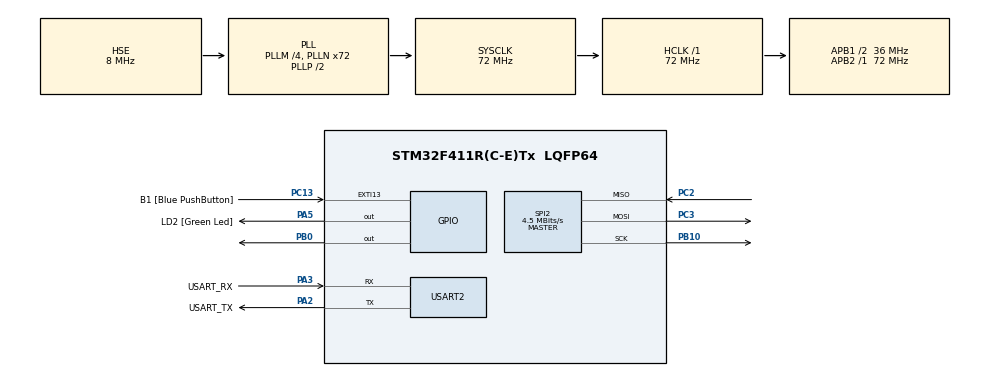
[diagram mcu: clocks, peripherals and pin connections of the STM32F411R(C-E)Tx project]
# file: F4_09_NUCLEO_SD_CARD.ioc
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FATFS._MAX_SS=4096
FATFS._USE_LFN=1
Mcu.Family=STM32F4
Mcu.Name=STM32F411R(C-E)Tx
Mcu.Package=LQFP64
NVIC.PriorityGroup=NVIC_PRIORITYGROUP_0
PA13.GPIO_Label=TMS
PA13.Mode=Serial_Wire
PA13.Signal=SYS_JTMS-SWDIO
PA14.GPIO_Label=TCK
PA14.Mode=Serial_Wire
PA14.Signal=SYS_JTCK-SWCLK
PA2.GPIO_Label=USART_TX
PA2.Mode=Asynchronous
PA2.Signal=USART2_TX
PA3.GPIO_Label=USART_RX
PA3.Mode=Asynchronous
PA3.Signal=USART2_RX
PA5.GPIO_Label=LD2 [Green Led]
PA5.Signal=GPIO_Output
PB0.Signal=GPIO_Output
PB10.Mode=Full_Duplex_Master
PB10.Signal=SPI2_SCK
PB3.GPIO_Label=SWO
PB3.Signal=SYS_JTDO-SWO
PC13-ANTI_TAMP.GPIO_Label=B1 [Blue PushButton]
PC13-ANTI_TAMP.GPIO_ModeDefaultEXTI=GPIO_MODE_IT_FALLING
PC13-ANTI_TAMP.Signal=GPXTI13
PC2.Mode=Full_Duplex_Master
PC2.Signal=SPI2_MISO
PC3.Mode=Full_Duplex_Master
PC3.Signal=SPI2_MOSI
PH0\ -\ OSC_IN.Mode=HSE-External-Oscillator
PH0\ -\ OSC_IN.Signal=RCC_OSC_IN
PH1\ -\ OSC_OUT.Mode=HSE-External-Oscillator
PH1\ -\ OSC_OUT.Signal=RCC_OSC_OUT
ProjectManager.HeapSize=0x200
ProjectManager.StackSize=0x400
ProjectManager.TargetToolchain=STM32CubeIDE
RCC.48MHZClocksFreq_Value=36000000
RCC.AHBFreq_Value=72000000
RCC.APB1CLKDivider=RCC_HCLK_DIV2
RCC.APB1Freq_Value=36000000
RCC.APB1TimFreq_Value=72000000
RCC.APB2Freq_Value=72000000
RCC.APB2TimFreq_Value=72000000
RCC.CortexFreq_Value=72000000
RCC.FLatency-AdvancedSettings=FLASH_LATENCY_2
RCC.HCLKFreq_Value=72000000
RCC.HSE_VALUE=8000000
RCC.HSI_VALUE=16000000
RCC.PLLM=4
RCC.PLLN=72
RCC.PLLSourceVirtual=RCC_PLLSOURCE_HSE
RCC.SYSCLKFreq_VALUE=72000000
RCC.SYSCLKSource=RCC_SYSCLKSOURCE_PLLCLK
RCC.VCOOutputFreq_Value=144000000
SPI2.BaudRatePrescaler=SPI_BAUDRATEPRESCALER_8
SPI2.CalculateBaudRate=4.5 MBits/s
SPI2.Direction=SPI_DIRECTION_2LINES
SPI2.Mode=SPI_MODE_MASTER
SPI2.VirtualType=VM_MASTER
USART2.VirtualMode=VM_ASYNC
VP_FATFS_VS_Generic.Mode=User_defined
board=NUCLEO-F411RE

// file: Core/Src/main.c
/* USER CODE BEGIN Header */
/**
  ******************************************************************************
  * @file           : main.c
  * @brief          : Main program body
  ******************************************************************************
  * @attention
  *
  * Copyright (c) 2023 STMicroelectronics.
  * All rights reserved.
  *
  * This software is licensed under terms that can be found in the LICENSE file
  * in the root directory of this software component.
  * If no LICENSE file comes with this software, it is provided AS-IS.
  *
  ******************************************************************************
  */
/* USER CODE END Header */
#include "main.h"
#include "fatfs.h"
#include "spi.h"
#include "usart.h"
#include "gpio.h"

/* USER CODE BEGIN Includes */
#include <fatfs_sd.h>
#include <string.h>
#include <stdio.h>
/* USER CODE END Includes */

void SystemClock_Config(void);
/* USER CODE BEGIN PFP */

// to send the data to the uart
void send_uart (char * string);

// to find the size of data in the buffer
int bufsize (char * buf);

// to clear the buffer
void bufclear (void);
/* USER CODE END PFP */

/* USER CODE BEGIN 0 */
FATFS fs;			// file system
FIL fil;			// file
FRESULT fresult;	// to store the result
char buffer[1024];	// to store data

UINT br, bw;		// file read/write count

// capacity related variables
FATFS * pfs;
DWORD fre_clust;
uint32_t total, free_space;

/* USER CODE END 0 */

int main(void)
{

  /* MCU Configuration--------------------------------------------------------*/

  /* Reset of all peripherals, Initializes the Flash interface and the Systick. */
  HAL_Init();

  /* Configure the system clock */
  SystemClock_Config();

  /* Initialize all configured peripherals */
  MX_GPIO_Init();
  MX_USART2_UART_Init();
  MX_SPI2_Init();
  MX_FATFS_Init();
  /* USER CODE BEGIN 2 */

  // Mount SD Card
  fresult = f_mount(&fs, "", 0);
  if (FR_OK != fresult)
  {
	  send_uart("error in mounting SD CARD...\r\n");
  }
  else
  {
	  send_uart("SD CARD mounted successfully...\r\n");
  }

  /*** Card capacity details ***/

  // check free space
  f_getfree("", &fre_clust, &pfs);

  total = (uint32_t) ( (pfs->n_fatent - 2) * pfs->csize * 0.5);
  sprintf(buffer, "SD CARD Total Size: \t%lu\r\n", total);
  send_uart(buffer);
  bufclear();
  free_space = (uint32_t) (fre_clust * pfs->csize * 0.5);
  sprintf(buffer, "SD CARD Free Space: \t%lu\r\n", free_space);
  send_uart(buffer);

  /*** The folowwing operation is using PUTS and GETS ***/

  // Open file to write/ create a file if it doesn't exist
  fresult = f_open(&fil, "file1.txt", FA_OPEN_ALWAYS | FA_READ | FA_WRITE);

  // Writing text
  fresult = f_puts("This data is from the First FILE\n\r\n\r", &fil);
  send_uart("file1.txt created and the data is written.\r\n");

  // Close file
  fresult = f_close(&fil);

  // Open file to read
  fresult = f_open(&fil, "file1.txt", FA_READ);

  // Read string from the file
  f_gets(buffer, sizeof(buffer), &fil);
  send_uart(buffer);

  // Close file
  f_close(&fil);
  bufclear();

  /*** The folowwing operation is using f_write and f_read ***/

  // Create second file with read\write access and open it
  fresult = f_open(&fil, "file2.txt", FA_OPEN_ALWAYS | FA_READ | FA_WRITE);

  // Writing text
  strcpy(buffer, "This is File 2 and it says Hello from SKALEN.Gaming");
  fresult = f_write(&fil, buffer, bufsize(buffer), &bw);
  send_uart("\n\rFile2.txt created and data is written\n\r");

  // Close file
  f_close(&fil);
  bufclear();

  //Open second file to read
  fresult = f_open(&fil, "file2.txt", FA_READ);

  // Read data from the file
  f_read(&fil, buffer, sizeof(buffer), &br);
  send_uart(buffer);

  // Close file
  f_close(&fil);
  bufclear();

  /*** Updating an existing file ***/

  // Open the file with write access
  fresult = f_open(&fil, "file2.txt", FA_OPEN_ALWAYS | FA_WRITE);

  // Move offset to the end of file
  fresult = f_lseek(&fil, fil.fptr);

  // Write a string to the file
  fresult = f_puts("\rThis is updated data and it should be in the end.\r\n", &fil);

  f_close(&fil);

  // Open to read the file
  fresult = f_open(&fil, "file2.txt", FA_READ);

  // Read string from the file
  f_read(&fil, buffer, sizeof(buffer), &br);
  send_uart(buffer);

  // Close file
  f_close(&fil);
  bufclear();

  /*** Removing files from the directory ***/

  fresult = f_unlink("/file4.txt");
  if (FR_OK == fresult)
  {
	  send_uart("file4.txt removed successfully...\n\r");
  }

  fresult = f_unlink("/file3.txt");
  if (FR_OK == fresult)
  {
	  send_uart("file3.txt removed successfully...\n\r");
  }

  // Unmount SD CARD
  fresult = f_mount(NULL, "", 1);
  if (FR_OK == fresult)
  {
	  send_uart("SD CARD UNMOUNTED successfully...\n\r");
  }

  /* USER CODE END 2 */

  /* Infinite loop */
  while (1)
  {

  }
}

void SystemClock_Config(void)
{
  RCC_OscInitTypeDef RCC_OscInitStruct = {0};
  RCC_ClkInitTypeDef RCC_ClkInitStruct = {0};

  /** Configure the main internal regulator output voltage
  */
  __HAL_RCC_PWR_CLK_ENABLE();
  __HAL_PWR_VOLTAGESCALING_CONFIG(PWR_REGULATOR_VOLTAGE_SCALE1);

  /** Initializes the RCC Oscillators according to the specified parameters
  * in the RCC_OscInitTypeDef structure.
  */
  RCC_OscInitStruct.OscillatorType = RCC_OSCILLATORTYPE_HSE;
  RCC_OscInitStruct.HSEState = RCC_HSE_ON;
  RCC_OscInitStruct.PLL.PLLState = RCC_PLL_ON;
  RCC_OscInitStruct.PLL.PLLSource = RCC_PLLSOURCE_HSE;
  RCC_OscInitStruct.PLL.PLLM = 4;
  RCC_OscInitStruct.PLL.PLLN = 72;
  RCC_OscInitStruct.PLL.PLLP = RCC_PLLP_DIV2;
  RCC_OscInitStruct.PLL.PLLQ = 4;
  if (HAL_RCC_OscConfig(&RCC_OscInitStruct) != HAL_OK)
  {
    Error_Handler();
  }

  /** Initializes the CPU, AHB and APB buses clocks
  */
  RCC_ClkInitStruct.ClockType = RCC_CLOCKTYPE_HCLK|RCC_CLOCKTYPE_SYSCLK
                              |RCC_CLOCKTYPE_PCLK1|RCC_CLOCKTYPE_PCLK2;
  RCC_ClkInitStruct.SYSCLKSource = RCC_SYSCLKSOURCE_PLLCLK;
  RCC_ClkInitStruct.AHBCLKDivider = RCC_SYSCLK_DIV1;
  RCC_ClkInitStruct.APB1CLKDivider = RCC_HCLK_DIV2;
  RCC_ClkInitStruct.APB2CLKDivider = RCC_HCLK_DIV1;

  if (HAL_RCC_ClockConfig(&RCC_ClkInitStruct, FLASH_LATENCY_2) != HAL_OK)
  {
    Error_Handler();
  }
}

/* USER CODE BEGIN 4 */
void send_uart (char * string)
{
	uint8_t len = strlen(string);
	HAL_UART_Transmit(&huart2, (uint8_t *) string, len, 2000); // transmit in blocking mode
}

int bufsize (char * buf)
{
	int i = 0;
	while ('\0' != *buf++)
	{
		i++;
	}
	return i;
}

void bufclear (void)
{
	for (int i = 0; i < 1024; i++)
	{
		buffer[i] = '\0';
	}
}
/* USER CODE END 4 */

void Error_Handler(void)
{
  __disable_irq();
  while (1)
  {
  }
}
